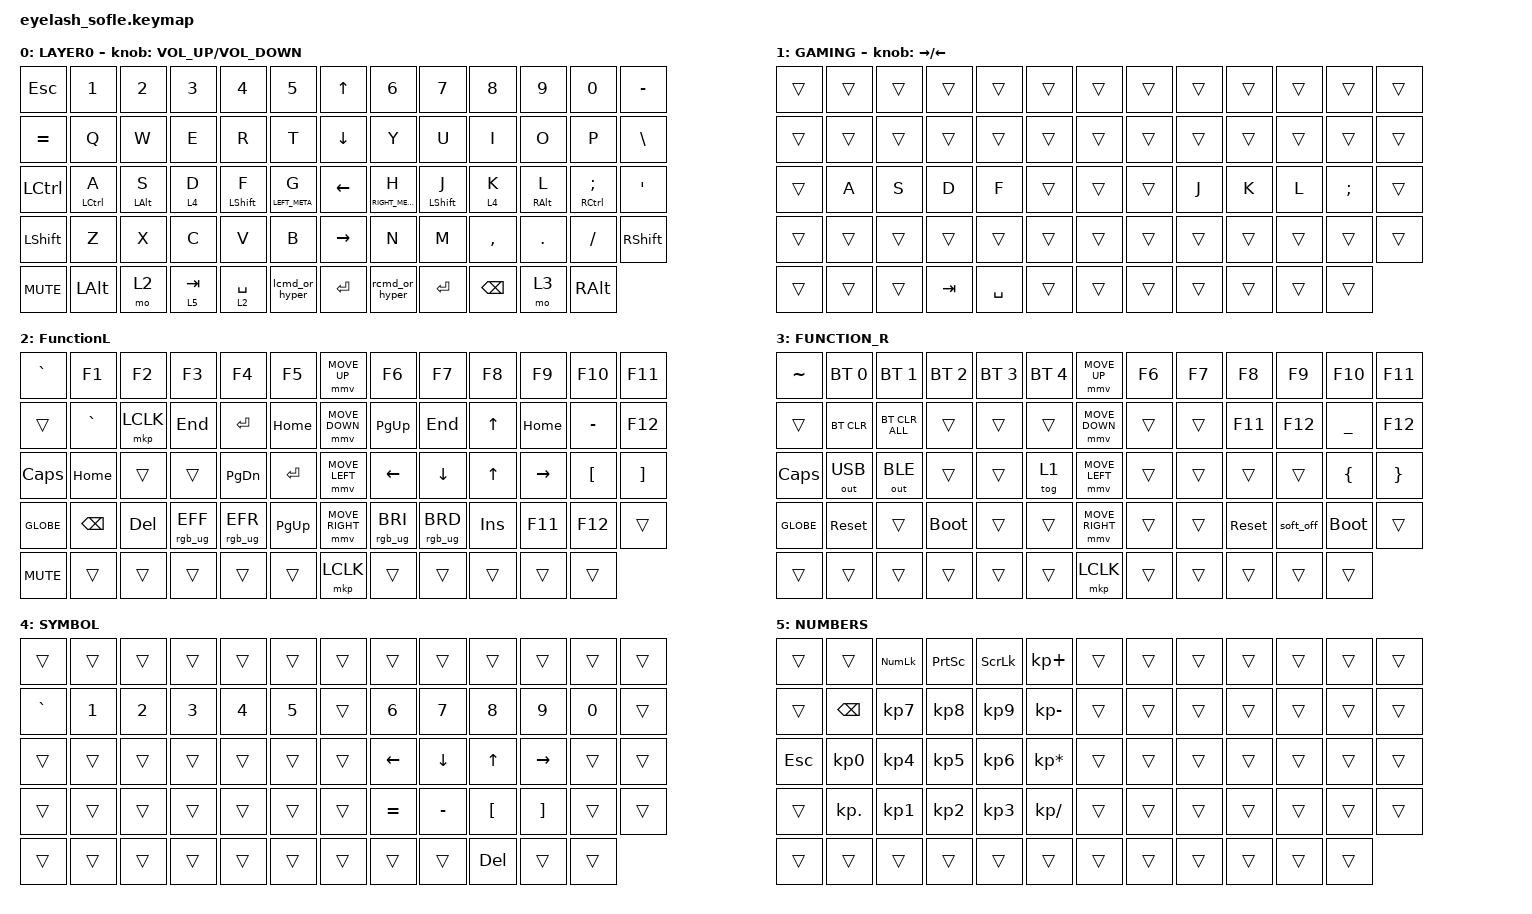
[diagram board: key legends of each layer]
#include <input/processors.dtsi>
#include <zephyr/dt-bindings/input/input-event-codes.h>
#include <behaviors/runtime-sensor-rotate.dtsi>
#include <behaviors.dtsi>
#include <dt-bindings/zmk/bt.h>
#include <dt-bindings/zmk/keys.h>
#include <dt-bindings/zmk/outputs.h>
#include <dt-bindings/zmk/pointing.h>
#include <dt-bindings/zmk/rgb.h>

/ {
    zip_scroll_scaler: zip_scroll_scaler {
        compatible = "zmk,input-processor-scaler";
        #input-processor-cells = <2>;
        type = <INPUT_EV_REL>;
        codes = <INPUT_REL_WHEEL INPUT_REL_HWHEEL>;
        track-remainders;
    };
};

&mmv_input_listener { input-processors = <&zip_xy_scaler 2 1>; };

&msc_input_listener { input-processors = <&zip_scroll_scaler 2 1>; };

&msc {
    acceleration-exponent = <0>;      // 0
    time-to-max-speed-ms = <0>;       // 300
    delay-ms = <0>;                   // 0
};

&mmv {
    time-to-max-speed-ms = <400>;
    acceleration-exponent = <1>;
};

&soft_off { hold-time-ms = <2000>; };

&inc_dec_kp { tap-ms = <100>; };

/ {
    behaviors {
        rsr_vol: rsr_vol {
            compatible = "zmk,behavior-runtime-sensor-rotate";
            #sensor-binding-cells = <0>;
            tap-ms = <5>;
            cw-binding = <&kp C_VOL_UP>;
            ccw-binding = <&kp C_VOL_DN>;
        };

        rsr_trans: rsr_trans {
            compatible = "zmk,behavior-runtime-sensor-rotate";
            #sensor-binding-cells = <0>;
            tap-ms = <0>;
        };

        lcmd_or_hyper: lcmd_or_hyper {
            compatible = "zmk,behavior-tap-dance";
            label = "LCMD_OR_HYPER";
            #binding-cells = <0>;
            bindings = <&kp LCMD>, <&sk LS(LA(LC(LEFT_COMMAND)))>;

            tapping-term-ms = <250>;
        };

        rcmd_or_hyper: rcmd_or_hyper {
            compatible = "zmk,behavior-tap-dance";
            label = "RCMD_OR_HYPER";
            #binding-cells = <0>;
            bindings = <&kp RCMD>, <&kp RS(RA(RC(RCMD)))>;

            tapping-term-ms = <250>;
        };
    };

    hml_kp: hml_kp {
        compatible = "zmk,behavior-hold-tap";
        label = "Homerow Mod Left";
        bindings = <&kp>, <&kp>;

        #binding-cells = <2>;
        flavor = "balanced";
        tapping-term-ms = <300>;
        quick-tap-ms = <175>;
        require-prior-idle-ms = <120>;
        hold-trigger-on-release;
        hold-trigger-key-positions = <7 8 9 10 11 12 20 21 22 23 24 25 33 34 35 36 37 38 45 46 47 48 49 50 51 58 19 32 6 52 60 61 62 63 53 54 55 56 57 59 60>;
    };

    hmr_kp: hmr_kp {
        compatible = "zmk,behavior-hold-tap";
        label = "Homerow Mod Right";
        bindings = <&kp>, <&kp>;

        #binding-cells = <2>;
        flavor = "balanced";
        tapping-term-ms = <300>;
        quick-tap-ms = <175>;
        require-prior-idle-ms = <120>;
        hold-trigger-on-release;
        hold-trigger-key-positions = <0 1 2 3 4 5 6 13 14 15 16 17 18 19 26 27 28 29 30 31 32 39 40 41 42 43 44 45 52 53 54 55 56 58 57 59 60 61 62 63>;
    };

    hml_mo: hml_mo {
        compatible = "zmk,behavior-hold-tap";
        label = "Homerow Mod Left (Momentary Layer)";
        bindings = <&mo>, <&kp>;

        #binding-cells = <2>;
        flavor = "balanced";
        tapping-term-ms = <300>;
        quick-tap-ms = <175>;
        require-prior-idle-ms = <120>;
        hold-trigger-on-release;
        hold-trigger-key-positions = <7 8 9 10 11 12 20 21 22 23 24 25 33 34 35 36 37 38 45 46 47 48 49 50 51 58 19 32 6 52 60 61 62 63 53 54 55 56 57 59 60>;
    };

    hmr_mo: hmr_mo {
        compatible = "zmk,behavior-hold-tap";
        label = "Homerow Mod Right (Momentary Layer)";
        bindings = <&mo>, <&kp>;

        #binding-cells = <2>;
        flavor = "balanced";
        tapping-term-ms = <300>;
        quick-tap-ms = <175>;
        require-prior-idle-ms = <120>;
        hold-trigger-on-release;
        hold-trigger-key-positions = <0 1 2 3 4 5 6 13 14 15 16 17 18 19 26 27 28 29 30 31 32 39 40 41 42 43 44 45 52 53 54 55 56 57 58 59 60 61 62 63>;
    };

    combos {
        compatible = "zmk,combos";

        softoff {
            bindings = <&soft_off>;
            key-positions = <14 28 40>;
        };
    };

    keymap {
        compatible = "zmk,keymap";

        MAIN {
            bindings = <
&kp ESC           &kp N1                  &kp N2              &kp N3         &kp N4                &kp N5                 &kp UP_ARROW     &kp N6                &kp N7                &kp N8         &kp N9               &kp N0                           &kp MINUS
&kp EQUAL         &kp Q                   &kp W               &kp E          &kp R                 &kp T                  &kp DOWN_ARROW   &kp Y                 &kp U                 &kp I          &kp O                &kp P                            &kp BSLH
&kp LEFT_CONTROL  &hml_kp LEFT_CONTROL A  &hml_kp LEFT_ALT S  &hml_mo 4 D    &hml_kp LEFT_SHIFT F  &hml_kp LEFT_META G    &kp LEFT_ARROW   &hmr_kp RIGHT_META H  &hmr_kp LEFT_SHIFT J  &hmr_mo 4 K    &hmr_kp RIGHT_ALT L  &hmr_kp RIGHT_CONTROL SEMICOLON  &kp APOS
&kp LSHFT         &kp Z                   &kp X               &kp C          &kp V                 &kp B                  &kp RIGHT_ARROW  &kp N                 &kp M                 &kp COMMA      &kp DOT              &kp FSLH                         &kp RIGHT_SHIFT
&kp K_MUTE        &kp LEFT_ALT            &mo 2               &hml_mo 5 TAB  &hml_mo 2 SPACE       &lcmd_or_hyper         &kp ENTER        &rcmd_or_hyper        &kp ENTER             &kp BACKSPACE  &mo 3                &kp RIGHT_ALT
            >;

            sensor-bindings = <&rsr_vol &rsr_trans>;
            sensor-bindings = <&inc_dec_kp C_VOLUME_UP C_VOLUME_DOWN>;
            display-name = "LAYER0";
        };

        GAMING {
            bindings = <
&trans  &trans  &trans  &trans   &trans     &trans    &trans  &trans  &trans  &trans  &trans  &trans    &trans
&trans  &trans  &trans  &trans   &trans     &trans    &trans  &trans  &trans  &trans  &trans  &trans    &trans
&trans  &kp A   &kp S   &kp D    &kp F      &trans    &trans  &trans  &kp J   &kp K   &kp L   &kp SEMI  &trans
&trans  &trans  &trans  &trans   &trans     &trans    &trans  &trans  &trans  &trans  &trans  &trans    &trans
&trans  &trans  &trans  &kp TAB  &kp SPACE  &trans    &trans  &trans  &trans  &trans  &trans  &trans
            >;

            label = "GAMING";
            sensor-bindings = <&inc_dec_kp RIGHT LEFT>;
        };

        FUNTION_L {
            bindings = <
&kp GRAVE   &kp F1         &kp F2      &kp F3           &kp F4           &kp F5         &mmv MOVE_UP     &kp F6           &kp F7           &kp F8      &kp F9     &kp F10           &kp F11
&trans      &kp GRAVE      &mkp LCLK   &kp END          &kp RETURN       &kp HOME       &mmv MOVE_DOWN   &kp PG_UP        &kp END          &kp UP      &kp HOME   &kp MINUS         &kp F12
&kp CAPS    &kp HOME       &trans      &trans           &kp PAGE_DOWN    &kp ENTER      &mmv MOVE_LEFT   &kp LEFT         &kp DOWN         &kp UP      &kp RIGHT  &kp LEFT_BRACKET  &kp RIGHT_BRACKET
&kp GLOBE   &kp BACKSPACE  &kp DELETE  &rgb_ug RGB_EFF  &rgb_ug RGB_EFR  &kp PAGE_UP    &mmv MOVE_RIGHT  &rgb_ug RGB_BRI  &rgb_ug RGB_BRD  &kp INSERT  &kp F11    &kp F12           &trans
&kp C_MUTE  &trans         &trans      &trans           &trans           &trans         &mkp LCLK        &trans           &trans           &trans      &trans     &trans
            >;

            display-name = "FunctionL";
            label = "FUNTION_L";
        };

        FUNCTION_R {
            bindings = <
&kp TILDE  &bt BT_SEL 0  &bt BT_SEL 1    &bt BT_SEL 2  &bt BT_SEL 3  &bt BT_SEL 4    &mmv MOVE_UP     &kp F6  &kp F7  &kp F8      &kp F9     &kp F10      &kp F11
&trans     &bt BT_CLR    &bt BT_CLR_ALL  &trans        &trans        &trans          &mmv MOVE_DOWN   &trans  &trans  &kp F11     &kp F12    &kp UNDER    &kp F12
&kp CAPS   &out OUT_USB  &out OUT_BLE    &trans        &trans        &tog 1          &mmv MOVE_LEFT   &trans  &trans  &trans      &trans     &kp LBRC     &kp RBRC
&kp GLOBE  &sys_reset    &trans          &bootloader   &trans        &trans          &mmv MOVE_RIGHT  &trans  &trans  &sys_reset  &soft_off  &bootloader  &trans
&trans     &trans        &trans          &trans        &trans        &trans          &mkp LCLK        &trans  &trans  &trans      &trans     &trans
            >;

            label = "FUNCTION_R";
        };

        SYMBOL {
            bindings = <
&trans     &trans  &trans  &trans  &trans  &trans    &trans  &trans     &trans     &trans            &trans             &trans  &trans
&kp GRAVE  &kp N1  &kp N2  &kp N3  &kp N4  &kp N5    &trans  &kp N6     &kp N7     &kp N8            &kp N9             &kp N0  &trans
&trans     &trans  &trans  &trans  &trans  &trans    &trans  &kp LEFT   &kp DOWN   &kp UP            &kp RIGHT          &trans  &trans
&trans     &trans  &trans  &trans  &trans  &trans    &trans  &kp EQUAL  &kp MINUS  &kp LEFT_BRACKET  &kp RIGHT_BRACKET  &trans  &trans
&trans     &trans  &trans  &trans  &trans  &trans    &trans  &trans     &trans     &kp DELETE        &trans             &trans
            >;

            label = "SYMBOL";
        };

        NUMBERS {
            bindings = <
&trans      &trans           &kp KP_NUMLOCK   &kp PRINTSCREEN  &kp SCROLLLOCK   &kp KP_PLUS        &trans  &trans  &trans  &trans  &trans  &trans  &trans
&trans      &kp BACKSPACE    &kp KP_NUMBER_7  &kp KP_NUMBER_8  &kp KP_NUMBER_9  &kp KP_MINUS       &trans  &trans  &trans  &trans  &trans  &trans  &trans
&kp ESCAPE  &kp KP_NUMBER_0  &kp KP_NUMBER_4  &kp KP_NUMBER_5  &kp KP_NUMBER_6  &kp KP_MULTIPLY    &trans  &trans  &trans  &trans  &trans  &trans  &trans
&trans      &kp KP_DOT       &kp KP_NUMBER_1  &kp KP_NUMBER_2  &kp KP_NUMBER_3  &kp KP_DIVIDE      &trans  &trans  &trans  &trans  &trans  &trans  &trans
&trans      &trans           &trans           &trans           &trans           &trans             &trans  &trans  &trans  &trans  &trans  &trans
            >;

            label = "NUMBERS";
        };
    };
};
